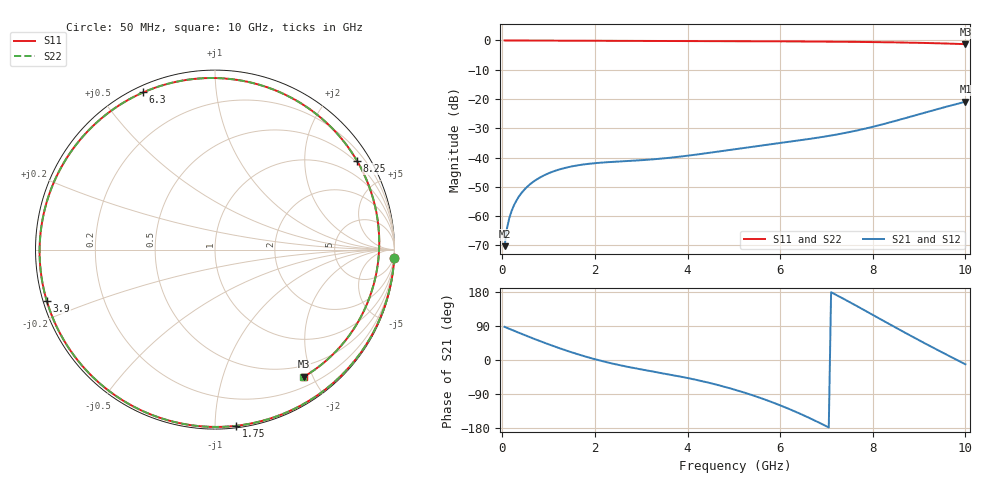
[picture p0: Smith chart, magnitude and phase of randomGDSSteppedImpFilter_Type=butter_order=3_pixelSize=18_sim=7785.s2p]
! freq	dB(S11)	phase(S11)	dB(S12)	phase(S12)
!  dB(S21)	phase(S21)	dB(S22)	phase(S22)
!S-par simulation data
#  GHz  S  DB  R 50
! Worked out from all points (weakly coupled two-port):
!   200 points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, 50 MHz to 10 GHz, reference 50 ohm
!   highest |S21| = -20.94 dB at 10 GHz (marker M1); lowest = -70.3 dB at 50 MHz (marker M2)
!   lowest |S11| = -1.3 dB at 10 GHz (marker M3), VSWR 13.73, Z = 16.7 - j93.7 ohm
!   |S11| at or under -10 dB: nowhere
!   |S22| runs from -1.3 to 0.0 dB; largest |S21 - S12| = 0
!   S11 on the Smith chart (normalised r, x): 50 MHz: 0, -45; 1.75 GHz: 0.01, -1.13; 3.9 GHz: 0.01, -0.15; 6.3 GHz: 0.03, +0.64; 8.25 GHz: 0.45, +3.44; 10 GHz: 0.33, -1.87
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0.05  -0.00 -2.6  -70.26 87.4  -70.26 87.4  -0.00 -2.6
0.1  -0.01 -5.1  -64.26 84.8  -64.26 84.8  -0.01 -5.1
0.2  -0.01 -10.2  -58.28 79.8  -58.28 79.8  -0.01 -10.2
0.35  -0.03 -17.7  -53.52 72.3  -53.52 72.3  -0.03 -17.7
0.5  -0.04 -25.2  -50.57 64.9  -50.57 64.9  -0.04 -25.2
1.15  -0.07 -56.5  -44.47 34.7  -44.47 34.7  -0.07 -56.5
1.75  -0.10 -83.2  -42.36 10.7  -42.36 10.7  -0.10 -83.2
2.5  -0.13 -113.5  -41.36 -12.7  -41.36 -12.7  -0.13 -113.5
3.4  -0.16 -146.1  -40.40 -33.6  -40.40 -33.6  -0.16 -146.1
3.9  -0.18 -163.1  -39.56 -45.0  -39.56 -45.0  -0.18 -163.2
4.45  -0.20 178.5  -38.42 -59.7  -38.42 -59.7  -0.20 178.5
5.05  -0.24 158.6  -37.09 -79.4  -37.09 -79.4  -0.24 158.5
5.65  -0.28 138.0  -35.77 -103.4  -35.77 -103.4  -0.28 138.0
6.3  -0.33 114.5  -34.38 -134.8  -34.38 -134.8  -0.33 114.5
6.7  -0.37 99.2  -33.47 -157.0  -33.47 -157.0  -0.37 99.1
7.45  -0.46 68.2  -31.44 156.2  -31.44 156.2  -0.46 68.1
8.25  -0.60 31.9  -28.49 102.1  -28.49 102.1  -0.60 31.8
8.35  -0.62 27.2  -28.07 95.3  -28.07 95.3  -0.62 27.0
8.75  -0.73 7.8  -26.33 68.5  -26.33 68.5  -0.73 7.6
9.15  -0.86 -12.1  -24.55 42.4  -24.55 42.4  -0.86 -12.3
9.55  -1.03 -32.3  -22.80 16.9  -22.80 16.9  -1.03 -32.5
10  -1.27 -55.0  -20.94 -11.4  -20.94 -11.4  -1.27 -55.2
